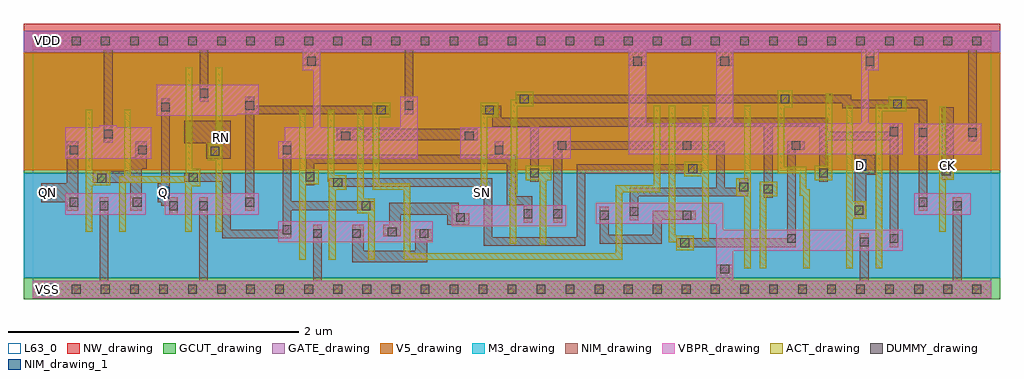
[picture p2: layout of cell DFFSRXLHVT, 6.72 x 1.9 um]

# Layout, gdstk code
import gdstk
lib = gdstk.Library(unit=1e-6, precision=5e-10)
def R(c, l, rs):  # rectangles x0, y0, x1, y1
    for r in rs: c.add(gdstk.rectangle(r[:2], r[2:], *l))
def A(c, l, x, y, w, h, nx, ny, dx, dy):  # array of equal rectangles
    R(c, l, [(x+i*dx, y+j*dy, x+i*dx+w, y+j*dy+h) for i in range(nx) for j in range(ny)])
def P(c, l, *ps):  # polygons
    for p in ps: c.add(gdstk.Polygon(p, *l))
VBPR_drawing = (1, 0)
NW_drawing = (2, 0)
ACT_drawing = (3, 0)
GATE_drawing = (4, 0)
GCUT_drawing = (5, 0)
DUMMY_drawing = (6, 0)
NIM_drawing = (7, 0)
NIM_drawing_1 = (7, 1)
M3_drawing = (18, 0)
V5_drawing = (23, 0)
L63_0 = (63, 0)

dffsrxlhvt = lib.new_cell('DFFSRXLHVT')
R(dffsrxlhvt, VBPR_drawing, [(0,-0.06,6.6,0.06), (1.69,0.325,2.755,0.47), (2.885,0.435,3.675,0.58), (0.225,0.515,0.78,0.66), (0.91,0.515,1.555,0.66), (6.07,0.515,6.46,0.66), (2.945,0.9,3.705,1.115), (6.07,0.925,6.53,1.14), (0,1.65,6.6,1.77)])
P(dffsrxlhvt, VBPR_drawing, [(5.99,1.145),(5.755,1.145),(5.755,1.51),(5.825,1.51),(5.825,1.65),(5.705,1.65),(5.705,1.145),(4.825,1.145),(4.825,1.65),(4.705,1.65),(4.705,1.145),(4.225,1.145),(4.225,1.65),(4.105,1.65),(4.105,0.93),(5.99,0.93)],
  [(0.46,1.13),(0.58,1.13),(0.58,1.115),(0.815,1.115),(0.815,0.9),(0.225,0.9),(0.225,1.115),(0.46,1.115)],
  [(0.855,1.41),(1.555,1.41),(1.555,1.205),(1.405,1.205),(1.405,1.195),(0.855,1.195)],
  [(5.99,0.41),(4.755,0.41),(4.755,0.595),(3.875,0.595),(3.875,0.45),(4.705,0.45),(4.705,0.06),(4.825,0.06),(4.825,0.265),(5.99,0.265)],
  [(2.65,1.325),(2.53,1.325),(2.53,1.115),(1.98,1.115),(1.98,1.65),(1.86,1.65),(1.86,1.51),(1.93,1.51),(1.93,1.115),(1.735,1.115),(1.735,1.02),(1.69,1.02),(1.69,0.9),(2.65,0.9)])
R(dffsrxlhvt, NW_drawing, [(-0.06,0.82,6.66,1.83)])
P(dffsrxlhvt, ACT_drawing, [(0.63,1.235),(0.675,1.235),(0.675,0.78),(1.055,0.78),(1.055,1.53),(1.1,1.53),(1.1,0.83),(1.155,0.83),(1.155,0.71),(1.095,0.71),(1.095,0.395),(1.05,0.395),(1.05,0.735),(0.64,0.735),(0.64,0.395),(0.595,0.395),(0.595,0.78),(0.63,0.78)],
  [(1.26,1.53),(1.305,1.53),(1.305,0.395),(1.26,0.395),(1.26,0.89),(1.205,0.89),(1.205,1.01),(1.26,1.01)],
  [(0.365,1.235),(0.41,1.235),(0.41,0.815),(0.535,0.815),(0.535,0.715),(0.41,0.715),(0.41,0.395),(0.365,0.395)],
  [(1.835,1.235),(1.88,1.235),(1.88,0.825),(1.97,0.825),(1.97,0.725),(1.88,0.725),(1.88,0.205),(1.835,0.205)],
  [(2.34,1.285),(2.46,1.285),(2.46,1.185),(2.385,1.185),(2.385,0.73),(2.6,0.73),(2.6,0.25),(4.015,0.25),(4.015,0.715),(4.275,0.715),(4.275,1.265),(4.32,1.265),(4.32,0.67),(4.06,0.67),(4.06,0.205),(2.555,0.205),(2.555,0.685),(2.34,0.685)],
  [(2.03,1.235),(2.075,1.235),(2.075,0.785),(2.16,0.785),(2.16,0.685),(2.085,0.685),(2.085,0.205),(2.04,0.205),(2.04,0.74),(2.03,0.74)],
  [(2.235,1.235),(2.28,1.235),(2.28,0.625),(2.355,0.625),(2.355,0.205),(2.31,0.205),(2.31,0.525),(2.235,0.525)],
  [(3.325,1.36),(3.445,1.36),(3.445,1.26),(3.335,1.26),(3.335,0.655),(3.33,0.655),(3.33,0.315),(3.285,0.315),(3.285,0.7),(3.29,0.7),(3.29,1.305),(3.325,1.305)],
  [(3.085,1.285),(3.205,1.285),(3.205,1.185),(3.13,1.185),(3.13,0.69),(3.085,0.69)],
  [(4.38,1.265),(4.425,1.265),(4.425,0.37),(4.55,0.37),(4.55,0.27),(4.43,0.27),(4.43,0.325),(4.38,0.325)],
  [(4.61,1.265),(4.655,1.265),(4.655,0.33),(4.61,0.33),(4.61,0.78),(4.485,0.78),(4.485,0.88),(4.61,0.88)],
  [(5.13,1.37),(5.23,1.37),(5.23,1.25),(5.175,1.25),(5.175,0.845),(5.325,0.845),(5.325,0.69),(5.35,0.69),(5.35,0.145),(5.305,0.145),(5.305,0.645),(5.28,0.645),(5.28,0.8),(5.13,0.8)],
  [(4.9,1.265),(4.945,1.265),(4.945,0.145),(4.9,0.145),(4.9,0.645),(4.845,0.645),(4.845,0.765),(4.9,0.765)],
  [(5.46,1.345),(5.505,1.345),(5.505,0.75),(5.385,0.75),(5.385,0.85),(5.46,0.85)],
  [(5.6,1.265),(5.645,1.265),(5.645,0.605),(5.74,0.605),(5.74,0.485),(5.645,0.485),(5.645,0.145),(5.6,0.145)],
  [(5.895,1.325),(6.015,1.325),(6.015,1.225),(5.85,1.225),(5.85,0.145),(5.805,0.145),(5.805,1.27),(5.895,1.27)],
  [(6.24,1.26),(6.285,1.26),(6.285,0.875),(6.34,0.875),(6.34,0.755),(6.285,0.755),(6.285,0.395),(6.24,0.395)],
  [(3.395,0.85),(3.57,0.85),(3.57,0.75),(3.535,0.75),(3.535,0.31),(3.49,0.31),(3.49,0.75),(3.395,0.75)],
  [(5.005,0.74),(5.125,0.74),(5.125,0.64),(5.05,0.64),(5.05,0.145),(5.005,0.145)])
R(dffsrxlhvt, GATE_drawing, [(-0.06,0.08,6.66,0.8), (-0.06,1.63,6.66,1.78)])
R(dffsrxlhvt, GCUT_drawing, [(-0.06,-0.07,6.66,0.08), (-0.06,0.8,6.66,1.63)])
A(dffsrxlhvt, DUMMY_drawing, 0.07, -0.03, 0.06, 0.06, 33, 2, 0.2, 1.71)
R(dffsrxlhvt, DUMMY_drawing, [(4.735,0.11,4.795,0.17), (4.46,0.29,4.52,0.35), (5.695,0.295,5.755,0.355), (5.195,0.32,5.255,0.38), (5.9,0.32,5.96,0.38), (1.93,0.355,1.99,0.415), (2.2,0.355,2.26,0.415), (2.665,0.355,2.725,0.415), (2.445,0.365,2.505,0.425), (1.72,0.38,1.78,0.44), (2.915,0.465,2.975,0.525), (3.905,0.48,3.965,0.54), (4.475,0.48,4.535,0.54), (3.38,0.49,3.44,0.55), (3.585,0.49,3.645,0.55), (4.11,0.505,4.17,0.565), (5.66,0.515,5.72,0.575), (0.46,0.545,0.52,0.605), (0.94,0.545,1,0.605), (1.145,0.545,1.205,0.605), (2.265,0.545,2.325,0.605), (6.335,0.545,6.395,0.605), (0.255,0.57,0.315,0.63), (0.69,0.57,0.75,0.63), (1.465,0.57,1.525,0.63), (6.1,0.57,6.16,0.63), (5.035,0.66,5.095,0.72), (4.865,0.675,4.925,0.735), (2.07,0.705,2.13,0.765), (0.445,0.735,0.505,0.795), (1.075,0.74,1.135,0.8), (1.88,0.745,1.94,0.805), (3.425,0.77,3.485,0.83), (5.415,0.77,5.475,0.83), (6.26,0.785,6.32,0.845), (4.515,0.8,4.575,0.86), (1.225,0.92,1.285,0.98), (0.255,0.93,0.315,0.99), (0.725,0.93,0.785,0.99), (1.72,0.93,1.78,0.99), (3.18,0.93,3.24,0.99), (3.615,0.96,3.675,1.02), (4.475,0.96,4.535,1.02), (5.225,0.96,5.285,1.02), (2.125,1.025,2.185,1.085), (2.975,1.025,3.035,1.085), (0.49,1.04,0.55,1.1), (6.1,1.05,6.16,1.11), (6.44,1.05,6.5,1.11), (5.9,1.055,5.96,1.115), (2.37,1.205,2.43,1.265), (3.115,1.205,3.175,1.265), (0.885,1.225,0.945,1.285), (1.465,1.235,1.525,1.295), (2.56,1.235,2.62,1.295), (5.925,1.245,5.985,1.305), (3.355,1.28,3.415,1.34), (5.15,1.28,5.21,1.34), (1.15,1.32,1.21,1.38), (1.89,1.54,1.95,1.6), (4.135,1.54,4.195,1.6), (4.735,1.54,4.795,1.6), (5.735,1.54,5.795,1.6)])
R(dffsrxlhvt, NIM_drawing, [(0.46,0.06,0.52,0.635), (1.145,0.06,1.205,0.635), (1.93,0.06,1.99,0.445), (4.705,0.06,4.825,0.17), (5.695,0.06,5.755,0.385), (6.335,0.06,6.395,0.635), (6.26,0.755,6.34,1.255), (0.49,1.01,0.55,1.65), (6.44,1.02,6.5,1.65), (2.095,1.025,3.065,1.105), (2.56,1.205,2.62,1.65), (1.15,1.29,1.21,1.65), (5.735,1.51,5.795,1.65), (1.86,1.54,1.98,1.65), (4.105,1.54,4.225,1.65), (4.705,1.54,4.825,1.65)])
P(dffsrxlhvt, NIM_drawing, [(0.885,1.315),(0.945,1.315),(0.945,0.635),(1,0.635),(1,0.515),(0.94,0.515),(0.94,0.575),(0.885,0.575),(0.885,0.6),(0.86,0.6),(0.86,0.73),(0.885,0.73)],
  [(1.465,1.325),(1.525,1.325),(1.525,1.265),(2.46,1.265),(2.46,1.205),(1.525,1.205),(1.525,0.54),(1.465,0.54)],
  [(3.325,1.34),(5.635,1.34),(5.635,1.305),(6.16,1.305),(6.16,0.54),(6.1,0.54),(6.1,1.245),(5.575,1.245),(5.575,1.28),(3.325,1.28)],
  [(0.235,1.02),(0.315,1.02),(0.315,0.54),(0.235,0.54),(0.235,0.6),(0.06,0.6),(0.06,0.73),(0.235,0.73)],
  [(0.705,1.02),(0.785,1.02),(0.785,0.83),(0.75,0.83),(0.75,0.54),(0.67,0.54),(0.67,0.735),(0.415,0.735),(0.415,0.815),(0.67,0.815),(0.67,0.91),(0.705,0.91)],
  [(1.045,1.16),(1.365,1.16),(1.365,0.9),(1.195,0.9),(1.195,1.005),(1.045,1.005)],
  [(1.045,0.8),(1.365,0.8),(1.365,0.41),(1.72,0.41),(1.72,1.02),(1.78,1.02),(1.78,0.605),(2.355,0.605),(2.355,0.545),(1.78,0.545),(1.78,0.35),(1.305,0.35),(1.305,0.74),(1.045,0.74)],
  [(3.085,1.265),(3.225,1.265),(3.225,1.18),(5.475,1.18),(5.475,1.085),(5.9,1.085),(5.9,1.145),(5.96,1.145),(5.96,0.29),(5.9,0.29),(5.9,1.025),(5.475,1.025),(5.475,0.74),(5.415,0.74),(5.415,1.12),(5.095,1.12),(5.095,0.63),(5.035,0.63),(5.035,1.12),(3.485,1.12),(3.485,0.74),(3.425,0.74),(3.425,1.12),(3.165,1.12),(3.165,1.205),(3.085,1.205)],
  [(3.18,1.02),(3.24,1.02),(3.24,0.925),(3.325,0.925),(3.325,0.64),(3.44,0.64),(3.44,0.46),(3.38,0.46),(3.38,0.58),(3.265,0.58),(3.265,0.865),(1.94,0.865),(1.94,0.715),(1.88,0.715),(1.88,0.925),(3.18,0.925)],
  [(3.745,0.86),(4.605,0.86),(4.605,0.8),(3.805,0.8),(3.805,0.3),(3.105,0.3),(3.105,0.625),(3.035,0.625),(3.035,0.705),(2.04,0.705),(2.04,0.765),(3.165,0.765),(3.165,0.36),(3.745,0.36)],
  [(2.455,0.595),(2.935,0.595),(2.935,0.525),(3.005,0.525),(3.005,0.445),(2.855,0.445),(2.855,0.515),(2.535,0.515),(2.535,0.365),(2.415,0.365),(2.415,0.445),(2.455,0.445)],
  [(2.2,0.445),(2.28,0.445),(2.28,0.265),(2.635,0.265),(2.635,0.415),(2.755,0.415),(2.755,0.335),(2.715,0.335),(2.715,0.185),(2.2,0.185)],
  [(3.585,1.02),(4.765,1.02),(4.765,0.7),(4.865,0.7),(4.865,0.765),(4.925,0.765),(4.925,0.64),(4.17,0.64),(4.17,0.475),(4.11,0.475),(4.11,0.7),(4.705,0.7),(4.705,0.96),(3.645,0.96),(3.645,0.46),(3.585,0.46)],
  [(3.905,0.57),(3.965,0.57),(3.965,0.375),(4.27,0.375),(4.27,0.54),(4.565,0.54),(4.565,0.48),(4.33,0.48),(4.33,0.315),(3.905,0.315)],
  [(5.195,1.02),(5.315,1.02),(5.315,0.96),(5.255,0.96),(5.255,0.29),(4.43,0.29),(4.43,0.35),(5.195,0.35)],
  [(5.66,0.925),(5.8,0.925),(5.8,0.79),(5.74,0.79),(5.74,0.485),(5.66,0.485)])
R(dffsrxlhvt, NIM_drawing_1, [(0.06,-0.04,0.14,0.04), (0.06,0.625,0.14,0.705), (0.86,0.625,0.94,0.705), (3.06,0.625,3.14,0.705), (5.66,0.815,5.74,0.895), (6.26,0.815,6.34,0.895), (1.26,1.005,1.34,1.085), (0.06,1.67,0.14,1.75)])
R(dffsrxlhvt, M3_drawing, [(-0.06,0.08,6.66,0.8)])
R(dffsrxlhvt, V5_drawing, [(-0.06,0.82,6.66,1.63)])
R(dffsrxlhvt, L63_0, [(0,0,6.6,1.71)])
dffsrxlhvt.add(gdstk.FlexPath([(0,0),(6.6,0)], 0.12, ends="flush", simple_path=True, layer=7, datatype=0))  # NIM_drawing
dffsrxlhvt.add(gdstk.FlexPath([(0,1.71),(6.6,1.71)], 0.12, ends="flush", simple_path=True, layer=7, datatype=0))  # NIM_drawing
dffsrxlhvt.add(gdstk.Label('Q', (0.9,0.665), layer=7, texttype=1))
dffsrxlhvt.add(gdstk.Label('QN', (0.1,0.665), layer=7, texttype=1))
dffsrxlhvt.add(gdstk.Label('CK', (6.3,0.855), layer=7, texttype=1))
dffsrxlhvt.add(gdstk.Label('D', (5.7,0.855), layer=7, texttype=1))
dffsrxlhvt.add(gdstk.Label('SN', (3.1,0.665), layer=7, texttype=1))
dffsrxlhvt.add(gdstk.Label('RN', (1.3,1.045), layer=7, texttype=1))
dffsrxlhvt.add(gdstk.Label('VDD', (0.1,1.71), layer=7, texttype=1))
dffsrxlhvt.add(gdstk.Label('VSS', (0.1,0), layer=7, texttype=1))
dffsrxlhvt.add(gdstk.Label('VSS', (0.1,0), layer=7, texttype=1))
dffsrxlhvt.add(gdstk.Label('VDD', (0.1,1.71), layer=7, texttype=1))
dffsrxlhvt.add(gdstk.Label('RN', (1.3,1.045), layer=7, texttype=1))
dffsrxlhvt.add(gdstk.Label('SN', (3.1,0.665), layer=7, texttype=1))
dffsrxlhvt.add(gdstk.Label('D', (5.7,0.855), layer=7, texttype=1))
dffsrxlhvt.add(gdstk.Label('CK', (6.3,0.855), layer=7, texttype=1))
dffsrxlhvt.add(gdstk.Label('QN', (0.1,0.665), layer=7, texttype=1))
dffsrxlhvt.add(gdstk.Label('Q', (0.9,0.665), layer=7, texttype=1))
dffsrxlhvt.add(gdstk.Label('DFFSRXL', (0,0), layer=63, texttype=0))

lib.write_gds('DFFSRXLHVT.gds')
